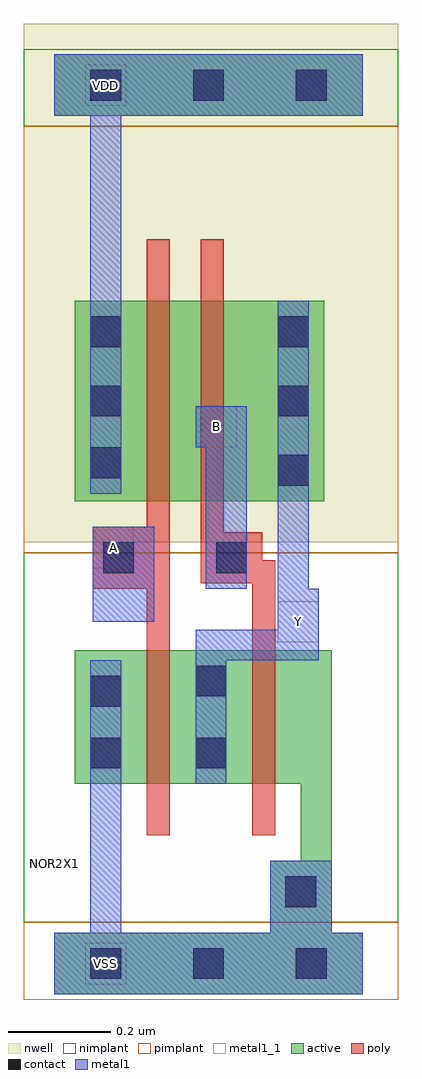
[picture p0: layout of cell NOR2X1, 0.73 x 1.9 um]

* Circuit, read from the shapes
.subckt NOR2X1 A B VDD VSS Y
M1 Y A VSS VSS nfet w=0.26u l=0.045u
M2 VSS B Y VSS nfet w=0.26u l=0.045u
M3 n1 A VDD VDD pfet w=0.39u l=0.045u
M4 Y B n1 VDD pfet w=0.39u l=0.045u
.ends

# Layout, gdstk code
import gdstk
lib = gdstk.Library(unit=1e-6, precision=5e-10)
def R(c, l, rs):  # rectangles x0, y0, x1, y1
    for r in rs: c.add(gdstk.rectangle(r[:2], r[2:], *l))
def A(c, l, x, y, w, h, nx, ny, dx, dy):  # array of equal rectangles
    R(c, l, [(x+i*dx, y+j*dy, x+i*dx+w, y+j*dy+h) for i in range(nx) for j in range(ny)])
def P(c, l, *ps):  # polygons
    for p in ps: c.add(gdstk.Polygon(p, *l))
active = (1, 0)
nwell = (2, 0)
poly = (3, 0)
nimplant = (4, 0)
pimplant = (5, 0)
contact = (6, 0)
metal1 = (7, 0)
metal1_1 = (7, 1)

nor2x1 = lib.new_cell('NOR2X1')
R(nor2x1, active, [(0.04,0.9,0.525,1.29), (0,1.65,0.6,1.77)])
P(nor2x1, active, [(0.6,0.06),(0.54,0.06),(0.54,0.61),(0.04,0.61),(0.04,0.35),(0.48,0.35),(0.48,0.2),(0.42,0.2),(0.42,0.06),(0,0.06),(0,-0.06),(0.6,-0.06)])
R(nor2x1, nwell, [(-0.06,0.82,0.67,1.83)])
P(nor2x1, poly, [(0.43,0.785),(0.405,0.785),(0.405,0.84),(0.33,0.84),(0.33,1.41),(0.285,1.41),(0.285,0.74),(0.385,0.74),(0.385,0.25),(0.43,0.25)],
  [(0.225,1.41),(0.18,1.41),(0.18,0.85),(0.075,0.85),(0.075,0.73),(0.18,0.73),(0.18,0.25),(0.225,0.25)])
R(nor2x1, nimplant, [(-0.06,0.08,0.67,0.8), (-0.06,1.63,0.67,1.78)])
R(nor2x1, pimplant, [(-0.06,-0.07,0.67,0.08), (-0.06,0.8,0.67,1.63)])
A(nor2x1, contact, 0.07, -0.03, 0.06, 0.06, 3, 2, 0.2, 1.71)
A(nor2x1, contact, 0.435, 0.93, 0.06, 0.06, 1, 3, 0, 0.135)
R(nor2x1, contact, [(0.45,0.11,0.51,0.17), (0.07,0.38,0.13,0.44), (0.275,0.38,0.335,0.44), (0.07,0.5,0.13,0.56), (0.275,0.52,0.335,0.58), (0.275,0.52,0.335,0.58), (0.095,0.76,0.155,0.82), (0.315,0.76,0.375,0.82), (0.07,0.945,0.13,1.005), (0.07,1.065,0.13,1.125), (0.07,1.2,0.13,1.26)])
R(nor2x1, metal1, [(0.075,0.665,0.195,0.85)])
P(nor2x1, metal1, [(0.6,0.06),(0.54,0.06),(0.54,0.2),(0.42,0.2),(0.42,0.06),(0.13,0.06),(0.13,0.59),(0.07,0.59),(0.07,0.06),(0,0.06),(0,-0.06),(0.6,-0.06)],
  [(0.6,1.77),(0,1.77),(0,1.65),(0.07,1.65),(0.07,0.915),(0.13,0.915),(0.13,1.65),(0.6,1.65)],
  [(0.515,0.73),(0.495,0.73),(0.495,1.29),(0.435,1.29),(0.435,0.65),(0.275,0.65),(0.275,0.35),(0.335,0.35),(0.335,0.59),(0.515,0.59)],
  [(0.375,1.085),(0.275,1.085),(0.275,1.005),(0.295,1.005),(0.295,0.73),(0.375,0.73)])
R(nor2x1, metal1_1, [(0.06,-0.04,0.14,0.04), (0.435,0.625,0.515,0.705), (0.075,0.77,0.155,0.85), (0.275,1.005,0.355,1.085), (0.06,1.67,0.14,1.75)])
nor2x1.add(gdstk.Label('A', (0.115,0.81), layer=7, texttype=1))
nor2x1.add(gdstk.Label('Y', (0.475,0.665), layer=7, texttype=1))
nor2x1.add(gdstk.Label('B', (0.315,1.045), layer=7, texttype=1))
nor2x1.add(gdstk.Label('VDD', (0.1,1.71), layer=7, texttype=1))
nor2x1.add(gdstk.Label('VSS', (0.1,0), layer=7, texttype=1))
nor2x1.add(gdstk.Label('NOR2X1', (0,0.195), layer=63, texttype=0))

lib.write_gds('NOR2X1.gds')
